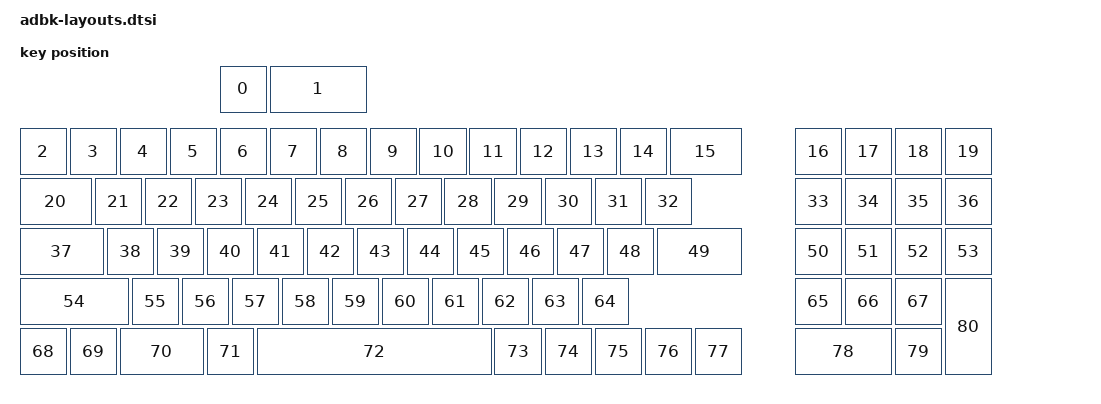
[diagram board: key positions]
#include <physical_layouts.dtsi>

/ {
    adbk_layout: adbk_layout {
        compatible = "zmk,physical-layout";
        display-name = "Apple Desktop Bus Keyboard";

        // Geometry from QMK's converter/adb_usb M0116 layout. Right Shift shares the
        // Left Shift matrix position, so it has no entry here.
        keys  //                     w   h    x    y     rot    rx    ry
            = <&key_physical_attrs 100 100  400    0       0     0     0>
            , <&key_physical_attrs 200 100  500    0       0     0     0>
            , <&key_physical_attrs 100 100    0  125       0     0     0>
            , <&key_physical_attrs 100 100  100  125       0     0     0>
            , <&key_physical_attrs 100 100  200  125       0     0     0>
            , <&key_physical_attrs 100 100  300  125       0     0     0>
            , <&key_physical_attrs 100 100  400  125       0     0     0>
            , <&key_physical_attrs 100 100  500  125       0     0     0>
            , <&key_physical_attrs 100 100  600  125       0     0     0>
            , <&key_physical_attrs 100 100  700  125       0     0     0>
            , <&key_physical_attrs 100 100  800  125       0     0     0>
            , <&key_physical_attrs 100 100  900  125       0     0     0>
            , <&key_physical_attrs 100 100 1000  125       0     0     0>
            , <&key_physical_attrs 100 100 1100  125       0     0     0>
            , <&key_physical_attrs 100 100 1200  125       0     0     0>
            , <&key_physical_attrs 150 100 1300  125       0     0     0>
            , <&key_physical_attrs 100 100 1550  125       0     0     0>
            , <&key_physical_attrs 100 100 1650  125       0     0     0>
            , <&key_physical_attrs 100 100 1750  125       0     0     0>
            , <&key_physical_attrs 100 100 1850  125       0     0     0>
            , <&key_physical_attrs 150 100    0  225       0     0     0>
            , <&key_physical_attrs 100 100  150  225       0     0     0>
            , <&key_physical_attrs 100 100  250  225       0     0     0>
            , <&key_physical_attrs 100 100  350  225       0     0     0>
            , <&key_physical_attrs 100 100  450  225       0     0     0>
            , <&key_physical_attrs 100 100  550  225       0     0     0>
            , <&key_physical_attrs 100 100  650  225       0     0     0>
            , <&key_physical_attrs 100 100  750  225       0     0     0>
            , <&key_physical_attrs 100 100  850  225       0     0     0>
            , <&key_physical_attrs 100 100  950  225       0     0     0>
            , <&key_physical_attrs 100 100 1050  225       0     0     0>
            , <&key_physical_attrs 100 100 1150  225       0     0     0>
            , <&key_physical_attrs 100 100 1250  225       0     0     0>
            , <&key_physical_attrs 100 100 1550  225       0     0     0>
            , <&key_physical_attrs 100 100 1650  225       0     0     0>
            , <&key_physical_attrs 100 100 1750  225       0     0     0>
            , <&key_physical_attrs 100 100 1850  225       0     0     0>
            , <&key_physical_attrs 175 100    0  325       0     0     0>
            , <&key_physical_attrs 100 100  175  325       0     0     0>
            , <&key_physical_attrs 100 100  275  325       0     0     0>
            , <&key_physical_attrs 100 100  375  325       0     0     0>
            , <&key_physical_attrs 100 100  475  325       0     0     0>
            , <&key_physical_attrs 100 100  575  325       0     0     0>
            , <&key_physical_attrs 100 100  675  325       0     0     0>
            , <&key_physical_attrs 100 100  775  325       0     0     0>
            , <&key_physical_attrs 100 100  875  325       0     0     0>
            , <&key_physical_attrs 100 100  975  325       0     0     0>
            , <&key_physical_attrs 100 100 1075  325       0     0     0>
            , <&key_physical_attrs 100 100 1175  325       0     0     0>
            , <&key_physical_attrs 175 100 1275  325       0     0     0>
            , <&key_physical_attrs 100 100 1550  325       0     0     0>
            , <&key_physical_attrs 100 100 1650  325       0     0     0>
            , <&key_physical_attrs 100 100 1750  325       0     0     0>
            , <&key_physical_attrs 100 100 1850  325       0     0     0>
            , <&key_physical_attrs 225 100    0  425       0     0     0>
            , <&key_physical_attrs 100 100  225  425       0     0     0>
            , <&key_physical_attrs 100 100  325  425       0     0     0>
            , <&key_physical_attrs 100 100  425  425       0     0     0>
            , <&key_physical_attrs 100 100  525  425       0     0     0>
            , <&key_physical_attrs 100 100  625  425       0     0     0>
            , <&key_physical_attrs 100 100  725  425       0     0     0>
            , <&key_physical_attrs 100 100  825  425       0     0     0>
            , <&key_physical_attrs 100 100  925  425       0     0     0>
            , <&key_physical_attrs 100 100 1025  425       0     0     0>
            , <&key_physical_attrs 100 100 1125  425       0     0     0>
            , <&key_physical_attrs 100 100 1550  425       0     0     0>
            , <&key_physical_attrs 100 100 1650  425       0     0     0>
            , <&key_physical_attrs 100 100 1750  425       0     0     0>
            , <&key_physical_attrs 100 100    0  525       0     0     0>
            , <&key_physical_attrs 100 100  100  525       0     0     0>
            , <&key_physical_attrs 175 100  200  525       0     0     0>
            , <&key_physical_attrs 100 100  375  525       0     0     0>
            , <&key_physical_attrs 475 100  475  525       0     0     0>
            , <&key_physical_attrs 100 100  950  525       0     0     0>
            , <&key_physical_attrs 100 100 1050  525       0     0     0>
            , <&key_physical_attrs 100 100 1150  525       0     0     0>
            , <&key_physical_attrs 100 100 1250  525       0     0     0>
            , <&key_physical_attrs 100 100 1350  525       0     0     0>
            , <&key_physical_attrs 200 100 1550  525       0     0     0>
            , <&key_physical_attrs 100 100 1750  525       0     0     0>
            , <&key_physical_attrs 100 200 1850  425       0     0     0>
            ;
    };
};
